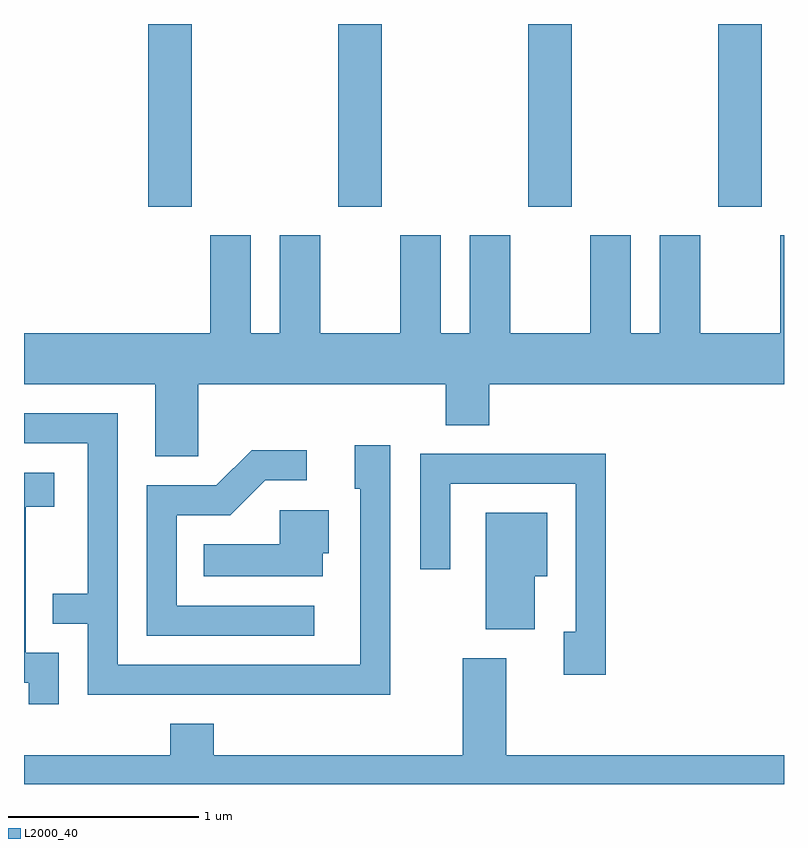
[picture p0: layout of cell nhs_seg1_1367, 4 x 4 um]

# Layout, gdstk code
import gdstk
lib = gdstk.Library(unit=1e-6, precision=1e-09)
def R(c, l, rs):  # rectangles x0, y0, x1, y1
    for r in rs: c.add(gdstk.rectangle(r[:2], r[2:], *l))
def A(c, l, x, y, w, h, nx, ny, dx, dy):  # array of equal rectangles
    R(c, l, [(x+i*dx, y+j*dy, x+i*dx+w, y+j*dy+h) for i in range(nx) for j in range(ny)])
def P(c, l, *ps):  # polygons
    for p in ps: c.add(gdstk.Polygon(p, *l))
L2000_40 = (2000, 40)

nhs_seg1_1367 = lib.new_cell('nhs_seg1_1367')
A(nhs_seg1_1367, L2000_40, 228.266, 882.751, 0.228, 0.961, 4, 1, 1, 0)
P(nhs_seg1_1367, L2000_40, [(228.529,881.816),(229.831,881.816),(229.831,881.601),(230.059,881.601),(230.059,881.816),(231.611,881.816),(231.611,882.599),(231.591,882.599),(231.591,882.084),(231.169,882.084),(231.169,882.599),(230.956,882.599),(230.956,882.084),(230.804,882.084),(230.804,882.599),(230.591,882.599),(230.591,882.084),(230.169,882.084),(230.169,882.599),(229.956,882.599),(229.956,882.084),(229.804,882.084),(229.804,882.599),(229.591,882.599),(229.591,882.084),(229.169,882.084),(229.169,882.599),(228.956,882.599),(228.956,882.084),(228.804,882.084),(228.804,882.599),(228.591,882.599),(228.591,882.084),(227.611,882.084),(227.611,881.816),(228.301,881.816),(228.301,881.436),(228.529,881.436)],
  [(229.539,881.494),(229.351,881.494),(229.351,881.266),(229.381,881.266),(229.381,880.339),(228.104,880.339),(228.104,881.664),(227.611,881.664),(227.611,881.506),(227.946,881.506),(227.946,880.714),(227.763,880.714),(227.763,880.556),(227.946,880.556),(227.946,880.181),(229.539,880.181)],
  [(229.138,880.649),(228.414,880.649),(228.414,881.126),(228.697,881.126),(228.882,881.311),(229.098,881.311),(229.098,881.469),(228.809,881.469),(228.624,881.284),(228.256,881.284),(228.256,880.491),(229.138,880.491)],
  [(230.674,881.449),(229.696,881.449),(229.696,880.843),(229.854,880.843),(229.854,881.291),(230.516,881.291),(230.516,880.514),(230.451,880.514),(230.451,880.286),(230.674,880.286)],
  [(227.794,880.404),(227.619,880.404),(227.619,881.171),(227.769,881.171),(227.769,881.349),(227.611,881.349),(227.611,880.246),(227.636,880.246),(227.636,880.133),(227.794,880.133)],
  [(229.184,880.926),(229.214,880.926),(229.214,881.154),(228.956,881.154),(228.956,880.974),(228.558,880.974),(228.558,880.806),(229.184,880.806)],
  [(230.299,880.806),(230.364,880.806),(230.364,881.139),(230.041,881.139),(230.041,880.526),(230.299,880.526)],
  [(231.611,879.864),(230.149,879.864),(230.149,880.374),(229.921,880.374),(229.921,879.864),(228.609,879.864),(228.609,880.029),(228.381,880.029),(228.381,879.864),(227.611,879.864),(227.611,879.712),(231.611,879.712)])

lib.write_gds('nhs_seg1_1367.gds')
